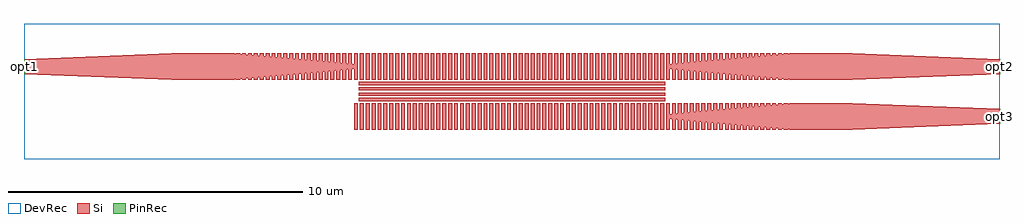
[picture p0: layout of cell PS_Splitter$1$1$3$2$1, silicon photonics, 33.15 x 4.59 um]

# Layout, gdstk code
import gdstk
lib = gdstk.Library(unit=1e-6, precision=1e-09)
def R(c, l, rs):  # rectangles x0, y0, x1, y1
    for r in rs: c.add(gdstk.rectangle(r[:2], r[2:], *l))
def P(c, l, *ps):  # polygons
    for p in ps: c.add(gdstk.Polygon(p, *l))
Si = (1, 0)
PinRec = (1, 10)
DevRec = (68, 0)

taper_right_1_1_3_2_1 = lib.new_cell('taper_right$1$1$3$2$1')
P(taper_right_1_1_3_2_1, Si, [(18.935,-1.293),(14.745,-0.919),(14.745,-0.769),(18.935,-0.394)])

swg_bot_period_21_1_1_3_ = lib.new_cell('SWG_bot_period_21$1$1$3$2$1')
R(swg_bot_period_21_1_1_3_, Si, [(4.135,-1.294,4.265,-0.395)])

swg_bot_period_22_1_1_3_ = lib.new_cell('SWG_bot_period_22$1$1$3$2$1')
R(swg_bot_period_22_1_1_3_, Si, [(4.335,-1.294,4.465,-0.395)])

swg_bot_period_23_1_1_3_ = lib.new_cell('SWG_bot_period_23$1$1$3$2$1')
R(swg_bot_period_23_1_1_3_, Si, [(4.535,-1.294,4.665,-0.395)])

swg_bot_period_24_1_1_3_ = lib.new_cell('SWG_bot_period_24$1$1$3$2$1')
R(swg_bot_period_24_1_1_3_, Si, [(4.735,-1.294,4.865,-0.395)])

swg_bot_period_25_1_1_3_ = lib.new_cell('SWG_bot_period_25$1$1$3$2$1')
R(swg_bot_period_25_1_1_3_, Si, [(4.935,-1.294,5.065,-0.395)])

swg_bot_period_26_1_1_3_ = lib.new_cell('SWG_bot_period_26$1$1$3$2$1')
R(swg_bot_period_26_1_1_3_, Si, [(5.135,-1.294,5.265,-0.395)])

swg_bot_period_27_1_1_3_ = lib.new_cell('SWG_bot_period_27$1$1$3$2$1')
R(swg_bot_period_27_1_1_3_, Si, [(5.335,-1.294,5.465,-0.395)])

swg_bot_period_28_1_1_3_ = lib.new_cell('SWG_bot_period_28$1$1$3$2$1')
R(swg_bot_period_28_1_1_3_, Si, [(5.535,-1.294,5.665,-0.395)])

swg_bot_period_29_1_1_3_ = lib.new_cell('SWG_bot_period_29$1$1$3$2$1')
R(swg_bot_period_29_1_1_3_, Si, [(5.735,-1.294,5.865,-0.395)])

swg_bot_period_30_1_1_3_ = lib.new_cell('SWG_bot_period_30$1$1$3$2$1')
R(swg_bot_period_30_1_1_3_, Si, [(5.935,-1.294,6.065,-0.395)])

swg_bot_period_31_1_1_3_ = lib.new_cell('SWG_bot_period_31$1$1$3$2$1')
R(swg_bot_period_31_1_1_3_, Si, [(6.135,-1.294,6.265,-0.395)])

swg_bot_period_32_1_1_3_ = lib.new_cell('SWG_bot_period_32$1$1$3$2$1')
R(swg_bot_period_32_1_1_3_, Si, [(6.335,-1.294,6.465,-0.395)])

swg_bot_period_33_1_1_3_ = lib.new_cell('SWG_bot_period_33$1$1$3$2$1')
R(swg_bot_period_33_1_1_3_, Si, [(6.535,-1.294,6.665,-0.395)])

swg_bot_period_34_1_1_3_ = lib.new_cell('SWG_bot_period_34$1$1$3$2$1')
R(swg_bot_period_34_1_1_3_, Si, [(6.735,-1.294,6.865,-0.395)])

swg_bot_period_35_1_1_3_ = lib.new_cell('SWG_bot_period_35$1$1$3$2$1')
R(swg_bot_period_35_1_1_3_, Si, [(6.935,-1.294,7.065,-0.395)])

swg_bot_period_36_1_1_3_ = lib.new_cell('SWG_bot_period_36$1$1$3$2$1')
R(swg_bot_period_36_1_1_3_, Si, [(7.135,-1.294,7.265,-0.395)])

swg_bot_period_37_1_1_3_ = lib.new_cell('SWG_bot_period_37$1$1$3$2$1')
R(swg_bot_period_37_1_1_3_, Si, [(7.335,-1.294,7.465,-0.395)])

swg_bot_period_38_1_1_3_ = lib.new_cell('SWG_bot_period_38$1$1$3$2$1')
R(swg_bot_period_38_1_1_3_, Si, [(7.535,-1.294,7.665,-0.395)])

swg_bot_period_39_1_1_3_ = lib.new_cell('SWG_bot_period_39$1$1$3$2$1')
R(swg_bot_period_39_1_1_3_, Si, [(7.735,-1.294,7.865,-0.395)])

swg_bot_period_40_1_1_3_ = lib.new_cell('SWG_bot_period_40$1$1$3$2$1')
R(swg_bot_period_40_1_1_3_, Si, [(7.935,-1.294,8.065,-0.395)])

swg_bot_period_41_1_1_3_ = lib.new_cell('SWG_bot_period_41$1$1$3$2$1')
R(swg_bot_period_41_1_1_3_, Si, [(8.135,-1.294,8.265,-0.395)])

swg_bot_period_42_1_1_3_ = lib.new_cell('SWG_bot_period_42$1$1$3$2$1')
R(swg_bot_period_42_1_1_3_, Si, [(8.335,-1.294,8.465,-0.395)])

swg_bot_period_43_1_1_3_ = lib.new_cell('SWG_bot_period_43$1$1$3$2$1')
R(swg_bot_period_43_1_1_3_, Si, [(8.535,-1.294,8.665,-0.395)])

swg_bot_period_44_1_1_3_ = lib.new_cell('SWG_bot_period_44$1$1$3$2$1')
R(swg_bot_period_44_1_1_3_, Si, [(8.735,-1.294,8.865,-0.395)])

swg_bot_period_45_1_1_3_ = lib.new_cell('SWG_bot_period_45$1$1$3$2$1')
R(swg_bot_period_45_1_1_3_, Si, [(8.935,-1.294,9.065,-0.395)])

swg_bot_period_46_1_1_3_ = lib.new_cell('SWG_bot_period_46$1$1$3$2$1')
R(swg_bot_period_46_1_1_3_, Si, [(9.135,-1.294,9.265,-0.395)])

swg_bot_period_47_1_1_3_ = lib.new_cell('SWG_bot_period_47$1$1$3$2$1')
R(swg_bot_period_47_1_1_3_, Si, [(9.335,-1.294,9.465,-0.395)])

swg_bot_period_48_1_1_3_ = lib.new_cell('SWG_bot_period_48$1$1$3$2$1')
R(swg_bot_period_48_1_1_3_, Si, [(9.535,-1.294,9.665,-0.395)])

swg_bot_period_49_1_1_3_ = lib.new_cell('SWG_bot_period_49$1$1$3$2$1')
R(swg_bot_period_49_1_1_3_, Si, [(9.735,-1.294,9.865,-0.395)])

swg_bot_period_50_1_1_3_ = lib.new_cell('SWG_bot_period_50$1$1$3$2$1')
R(swg_bot_period_50_1_1_3_, Si, [(9.935,-1.294,10.065,-0.395)])

swg_bot_period_51_1_1_3_ = lib.new_cell('SWG_bot_period_51$1$1$3$2$1')
R(swg_bot_period_51_1_1_3_, Si, [(10.135,-1.294,10.265,-0.395)])

swg_bot_period_52_1_1_3_ = lib.new_cell('SWG_bot_period_52$1$1$3$2$1')
R(swg_bot_period_52_1_1_3_, Si, [(10.335,-1.294,10.465,-0.395)])

swg_bot_period_53_1_1_3_ = lib.new_cell('SWG_bot_period_53$1$1$3$2$1')
R(swg_bot_period_53_1_1_3_, Si, [(10.535,-1.294,10.665,-0.395)])

swg_bot_period_54_1_1_3_ = lib.new_cell('SWG_bot_period_54$1$1$3$2$1')
R(swg_bot_period_54_1_1_3_, Si, [(10.735,-1.294,10.865,-0.395)])

swg_bot_period_55_1_1_3_ = lib.new_cell('SWG_bot_period_55$1$1$3$2$1')
R(swg_bot_period_55_1_1_3_, Si, [(10.935,-1.294,11.065,-0.395)])

swg_bot_period_56_1_1_3_ = lib.new_cell('SWG_bot_period_56$1$1$3$2$1')
R(swg_bot_period_56_1_1_3_, Si, [(11.135,-1.294,11.265,-0.395)])

swg_bot_period_57_1_1_3_ = lib.new_cell('SWG_bot_period_57$1$1$3$2$1')
R(swg_bot_period_57_1_1_3_, Si, [(11.335,-1.294,11.465,-0.395)])

swg_bot_period_58_1_1_3_ = lib.new_cell('SWG_bot_period_58$1$1$3$2$1')
R(swg_bot_period_58_1_1_3_, Si, [(11.535,-1.294,11.665,-0.395)])

swg_bot_period_59_1_1_3_ = lib.new_cell('SWG_bot_period_59$1$1$3$2$1')
R(swg_bot_period_59_1_1_3_, Si, [(11.735,-1.294,11.865,-0.395)])

swg_bot_period_60_1_1_3_ = lib.new_cell('SWG_bot_period_60$1$1$3$2$1')
R(swg_bot_period_60_1_1_3_, Si, [(11.935,-1.294,12.065,-0.395)])

swg_bot_period_61_1_1_3_ = lib.new_cell('SWG_bot_period_61$1$1$3$2$1')
R(swg_bot_period_61_1_1_3_, Si, [(12.135,-1.294,12.265,-0.395)])

swg_bot_period_62_1_1_3_ = lib.new_cell('SWG_bot_period_62$1$1$3$2$1')
R(swg_bot_period_62_1_1_3_, Si, [(12.335,-1.294,12.465,-0.395)])

swg_bot_period_63_1_1_3_ = lib.new_cell('SWG_bot_period_63$1$1$3$2$1')
R(swg_bot_period_63_1_1_3_, Si, [(12.535,-1.294,12.665,-0.395)])

swg_bot_period_64_1_1_3_ = lib.new_cell('SWG_bot_period_64$1$1$3$2$1')
R(swg_bot_period_64_1_1_3_, Si, [(12.735,-1.294,12.865,-0.395)])

swg_bot_period_65_1_1_3_ = lib.new_cell('SWG_bot_period_65$1$1$3$2$1')
R(swg_bot_period_65_1_1_3_, Si, [(12.935,-1.294,13.065,-0.395)])

swg_bot_period_66_1_1_3_ = lib.new_cell('SWG_bot_period_66$1$1$3$2$1')
R(swg_bot_period_66_1_1_3_, Si, [(13.135,-1.294,13.265,-0.395)])

swg_bot_period_67_1_1_3_ = lib.new_cell('SWG_bot_period_67$1$1$3$2$1')
R(swg_bot_period_67_1_1_3_, Si, [(13.335,-1.294,13.465,-0.395)])

swg_bot_period_68_1_1_3_ = lib.new_cell('SWG_bot_period_68$1$1$3$2$1')
R(swg_bot_period_68_1_1_3_, Si, [(13.535,-1.294,13.665,-0.395)])

swg_bot_period_69_1_1_3_ = lib.new_cell('SWG_bot_period_69$1$1$3$2$1')
R(swg_bot_period_69_1_1_3_, Si, [(13.735,-1.294,13.865,-0.395)])

swg_bot_period_70_1_1_3_ = lib.new_cell('SWG_bot_period_70$1$1$3$2$1')
R(swg_bot_period_70_1_1_3_, Si, [(13.935,-1.294,14.065,-0.395)])

swg_bot_period_71_1_1_3_ = lib.new_cell('SWG_bot_period_71$1$1$3$2$1')
R(swg_bot_period_71_1_1_3_, Si, [(14.135,-1.294,14.265,-0.395)])

swg_bot_period_72_1_1_3_ = lib.new_cell('SWG_bot_period_72$1$1$3$2$1')
R(swg_bot_period_72_1_1_3_, Si, [(14.335,-1.294,14.465,-0.395)])

swg_bot_period_73_1_1_3_ = lib.new_cell('SWG_bot_period_73$1$1$3$2$1')
R(swg_bot_period_73_1_1_3_, Si, [(14.535,-1.294,14.665,-0.395)])

swg_bot_period_74_1_1_3_ = lib.new_cell('SWG_bot_period_74$1$1$3$2$1')
R(swg_bot_period_74_1_1_3_, Si, [(14.735,-1.294,14.865,-0.395)])

swg_bot_period_75_1_1_3_ = lib.new_cell('SWG_bot_period_75$1$1$3$2$1')
R(swg_bot_period_75_1_1_3_, Si, [(14.935,-1.294,15.065,-0.395)])

swg_bot_period_76_1_1_3_ = lib.new_cell('SWG_bot_period_76$1$1$3$2$1')
R(swg_bot_period_76_1_1_3_, Si, [(15.135,-1.294,15.265,-0.395)])

swg_bot_period_77_1_1_3_ = lib.new_cell('SWG_bot_period_77$1$1$3$2$1')
R(swg_bot_period_77_1_1_3_, Si, [(15.335,-1.294,15.465,-0.395)])

swg_bot_period_78_1_1_3_ = lib.new_cell('SWG_bot_period_78$1$1$3$2$1')
R(swg_bot_period_78_1_1_3_, Si, [(15.535,-1.294,15.665,-0.395)])

swg_bot_period_79_1_1_3_ = lib.new_cell('SWG_bot_period_79$1$1$3$2$1')
R(swg_bot_period_79_1_1_3_, Si, [(15.735,-1.294,15.865,-0.395)])

swg_bot_period_80_1_1_3_ = lib.new_cell('SWG_bot_period_80$1$1$3$2$1')
R(swg_bot_period_80_1_1_3_, Si, [(15.935,-1.294,16.065,-0.395)])

swg_bot_period_81_1_1_3_ = lib.new_cell('SWG_bot_period_81$1$1$3$2$1')
R(swg_bot_period_81_1_1_3_, Si, [(16.135,-1.294,16.265,-0.395)])

swg_bot_period_82_1_1_3_ = lib.new_cell('SWG_bot_period_82$1$1$3$2$1')
R(swg_bot_period_82_1_1_3_, Si, [(16.335,-1.294,16.465,-0.395)])

swg_bot_period_83_1_1_3_ = lib.new_cell('SWG_bot_period_83$1$1$3$2$1')
R(swg_bot_period_83_1_1_3_, Si, [(16.535,-1.294,16.665,-0.395)])

swg_bot_period_84_1_3_2_ = lib.new_cell('SWG_bot_period_84$1$3$2$1')
R(swg_bot_period_84_1_3_2_, Si, [(16.735,-1.294,16.865,-0.395)])

swg_bot_period_85_1_3_2_ = lib.new_cell('SWG_bot_period_85$1$3$2$1')
R(swg_bot_period_85_1_3_2_, Si, [(16.935,-1.294,17.065,-0.395)])

swg_bot_period_86_1_3_2_ = lib.new_cell('SWG_bot_period_86$1$3$2$1')
R(swg_bot_period_86_1_3_2_, Si, [(17.135,-1.294,17.265,-0.395)])

swg_bot_period_87_1_3_2_ = lib.new_cell('SWG_bot_period_87$1$3$2$1')
R(swg_bot_period_87_1_3_2_, Si, [(17.335,-1.294,17.465,-0.395)])

swg_bot_period_88_1_3_2_ = lib.new_cell('SWG_bot_period_88$1$3$2$1')
R(swg_bot_period_88_1_3_2_, Si, [(17.535,-1.294,17.665,-0.395)])

swg_bot_period_89_1_3_2_ = lib.new_cell('SWG_bot_period_89$1$3$2$1')
R(swg_bot_period_89_1_3_2_, Si, [(17.735,-1.294,17.865,-0.395)])

swg_bot_period_90_1_3_2_ = lib.new_cell('SWG_bot_period_90$1$3$2$1')
R(swg_bot_period_90_1_3_2_, Si, [(17.935,-1.294,18.065,-0.395)])

swg_bot_period_91_1_3_2_ = lib.new_cell('SWG_bot_period_91$1$3$2$1')
R(swg_bot_period_91_1_3_2_, Si, [(18.135,-1.294,18.265,-0.395)])

swg_bot_period_92_1_3_2_ = lib.new_cell('SWG_bot_period_92$1$3$2$1')
R(swg_bot_period_92_1_3_2_, Si, [(18.335,-1.294,18.465,-0.395)])

swg_bot_period_93_1_3_2_ = lib.new_cell('SWG_bot_period_93$1$3$2$1')
R(swg_bot_period_93_1_3_2_, Si, [(18.535,-1.294,18.665,-0.395)])

swg_bot_period_94_1_3_2_ = lib.new_cell('SWG_bot_period_94$1$3$2$1')
R(swg_bot_period_94_1_3_2_, Si, [(18.735,-1.294,18.865,-0.395)])

swg_bot_period_95_1_3_2_ = lib.new_cell('SWG_bot_period_95$1$3$2$1')
R(swg_bot_period_95_1_3_2_, Si, [(18.935,-1.294,19.065,-0.395)])

right_wg_1_3_2_1 = lib.new_cell('right_wg$1$3$2$1')
R(right_wg_1_3_2_1, Si, [(19.065,-1.294,21.065,-0.395)])

wg_taper_right_1_3_2_1 = lib.new_cell('wg_taper_right$1$3$2$1')
P(wg_taper_right_1_3_2_1, Si, [(21.065,-1.293),(21.065,-0.394),(26.065,-0.594),(26.065,-1.094)])

swg_bot_1_1_3_2_1 = lib.new_cell('SWG_bot$1$1$3$2$1')
swg_bot_1_1_3_2_1.add(gdstk.Reference(taper_right_1_1_3_2_1, (0,0)))
swg_bot_1_1_3_2_1.add(gdstk.Reference(swg_bot_period_21_1_1_3_, (0,0)))
swg_bot_1_1_3_2_1.add(gdstk.Reference(swg_bot_period_22_1_1_3_, (0,0)))
swg_bot_1_1_3_2_1.add(gdstk.Reference(swg_bot_period_23_1_1_3_, (0,0)))
swg_bot_1_1_3_2_1.add(gdstk.Reference(swg_bot_period_24_1_1_3_, (0,0)))
swg_bot_1_1_3_2_1.add(gdstk.Reference(swg_bot_period_25_1_1_3_, (0,0)))
swg_bot_1_1_3_2_1.add(gdstk.Reference(swg_bot_period_26_1_1_3_, (0,0)))
swg_bot_1_1_3_2_1.add(gdstk.Reference(swg_bot_period_27_1_1_3_, (0,0)))
swg_bot_1_1_3_2_1.add(gdstk.Reference(swg_bot_period_28_1_1_3_, (0,0)))
swg_bot_1_1_3_2_1.add(gdstk.Reference(swg_bot_period_29_1_1_3_, (0,0)))
swg_bot_1_1_3_2_1.add(gdstk.Reference(swg_bot_period_30_1_1_3_, (0,0)))
swg_bot_1_1_3_2_1.add(gdstk.Reference(swg_bot_period_31_1_1_3_, (0,0)))
swg_bot_1_1_3_2_1.add(gdstk.Reference(swg_bot_period_32_1_1_3_, (0,0)))
swg_bot_1_1_3_2_1.add(gdstk.Reference(swg_bot_period_33_1_1_3_, (0,0)))
swg_bot_1_1_3_2_1.add(gdstk.Reference(swg_bot_period_34_1_1_3_, (0,0)))
swg_bot_1_1_3_2_1.add(gdstk.Reference(swg_bot_period_35_1_1_3_, (0,0)))
swg_bot_1_1_3_2_1.add(gdstk.Reference(swg_bot_period_36_1_1_3_, (0,0)))
swg_bot_1_1_3_2_1.add(gdstk.Reference(swg_bot_period_37_1_1_3_, (0,0)))
swg_bot_1_1_3_2_1.add(gdstk.Reference(swg_bot_period_38_1_1_3_, (0,0)))
swg_bot_1_1_3_2_1.add(gdstk.Reference(swg_bot_period_39_1_1_3_, (0,0)))
swg_bot_1_1_3_2_1.add(gdstk.Reference(swg_bot_period_40_1_1_3_, (0,0)))
swg_bot_1_1_3_2_1.add(gdstk.Reference(swg_bot_period_41_1_1_3_, (0,0)))
swg_bot_1_1_3_2_1.add(gdstk.Reference(swg_bot_period_42_1_1_3_, (0,0)))
swg_bot_1_1_3_2_1.add(gdstk.Reference(swg_bot_period_43_1_1_3_, (0,0)))
swg_bot_1_1_3_2_1.add(gdstk.Reference(swg_bot_period_44_1_1_3_, (0,0)))
swg_bot_1_1_3_2_1.add(gdstk.Reference(swg_bot_period_45_1_1_3_, (0,0)))
swg_bot_1_1_3_2_1.add(gdstk.Reference(swg_bot_period_46_1_1_3_, (0,0)))
swg_bot_1_1_3_2_1.add(gdstk.Reference(swg_bot_period_47_1_1_3_, (0,0)))
swg_bot_1_1_3_2_1.add(gdstk.Reference(swg_bot_period_48_1_1_3_, (0,0)))
swg_bot_1_1_3_2_1.add(gdstk.Reference(swg_bot_period_49_1_1_3_, (0,0)))
swg_bot_1_1_3_2_1.add(gdstk.Reference(swg_bot_period_50_1_1_3_, (0,0)))
swg_bot_1_1_3_2_1.add(gdstk.Reference(swg_bot_period_51_1_1_3_, (0,0)))
swg_bot_1_1_3_2_1.add(gdstk.Reference(swg_bot_period_52_1_1_3_, (0,0)))
swg_bot_1_1_3_2_1.add(gdstk.Reference(swg_bot_period_53_1_1_3_, (0,0)))
swg_bot_1_1_3_2_1.add(gdstk.Reference(swg_bot_period_54_1_1_3_, (0,0)))
swg_bot_1_1_3_2_1.add(gdstk.Reference(swg_bot_period_55_1_1_3_, (0,0)))
swg_bot_1_1_3_2_1.add(gdstk.Reference(swg_bot_period_56_1_1_3_, (0,0)))
swg_bot_1_1_3_2_1.add(gdstk.Reference(swg_bot_period_57_1_1_3_, (0,0)))
swg_bot_1_1_3_2_1.add(gdstk.Reference(swg_bot_period_58_1_1_3_, (0,0)))
swg_bot_1_1_3_2_1.add(gdstk.Reference(swg_bot_period_59_1_1_3_, (0,0)))
swg_bot_1_1_3_2_1.add(gdstk.Reference(swg_bot_period_60_1_1_3_, (0,0)))
swg_bot_1_1_3_2_1.add(gdstk.Reference(swg_bot_period_61_1_1_3_, (0,0)))
swg_bot_1_1_3_2_1.add(gdstk.Reference(swg_bot_period_62_1_1_3_, (0,0)))
swg_bot_1_1_3_2_1.add(gdstk.Reference(swg_bot_period_63_1_1_3_, (0,0)))
swg_bot_1_1_3_2_1.add(gdstk.Reference(swg_bot_period_64_1_1_3_, (0,0)))
swg_bot_1_1_3_2_1.add(gdstk.Reference(swg_bot_period_65_1_1_3_, (0,0)))
swg_bot_1_1_3_2_1.add(gdstk.Reference(swg_bot_period_66_1_1_3_, (0,0)))
swg_bot_1_1_3_2_1.add(gdstk.Reference(swg_bot_period_67_1_1_3_, (0,0)))
swg_bot_1_1_3_2_1.add(gdstk.Reference(swg_bot_period_68_1_1_3_, (0,0)))
swg_bot_1_1_3_2_1.add(gdstk.Reference(swg_bot_period_69_1_1_3_, (0,0)))
swg_bot_1_1_3_2_1.add(gdstk.Reference(swg_bot_period_70_1_1_3_, (0,0)))
swg_bot_1_1_3_2_1.add(gdstk.Reference(swg_bot_period_71_1_1_3_, (0,0)))
swg_bot_1_1_3_2_1.add(gdstk.Reference(swg_bot_period_72_1_1_3_, (0,0)))
swg_bot_1_1_3_2_1.add(gdstk.Reference(swg_bot_period_73_1_1_3_, (0,0)))
swg_bot_1_1_3_2_1.add(gdstk.Reference(swg_bot_period_74_1_1_3_, (0,0)))
swg_bot_1_1_3_2_1.add(gdstk.Reference(swg_bot_period_75_1_1_3_, (0,0)))
swg_bot_1_1_3_2_1.add(gdstk.Reference(swg_bot_period_76_1_1_3_, (0,0)))
swg_bot_1_1_3_2_1.add(gdstk.Reference(swg_bot_period_77_1_1_3_, (0,0)))
swg_bot_1_1_3_2_1.add(gdstk.Reference(swg_bot_period_78_1_1_3_, (0,0)))
swg_bot_1_1_3_2_1.add(gdstk.Reference(swg_bot_period_79_1_1_3_, (0,0)))
swg_bot_1_1_3_2_1.add(gdstk.Reference(swg_bot_period_80_1_1_3_, (0,0)))
swg_bot_1_1_3_2_1.add(gdstk.Reference(swg_bot_period_81_1_1_3_, (0,0)))
swg_bot_1_1_3_2_1.add(gdstk.Reference(swg_bot_period_82_1_1_3_, (0,0)))
swg_bot_1_1_3_2_1.add(gdstk.Reference(swg_bot_period_83_1_1_3_, (0,0)))
swg_bot_1_1_3_2_1.add(gdstk.Reference(swg_bot_period_84_1_3_2_, (0,0)))
swg_bot_1_1_3_2_1.add(gdstk.Reference(swg_bot_period_85_1_3_2_, (0,0)))
swg_bot_1_1_3_2_1.add(gdstk.Reference(swg_bot_period_86_1_3_2_, (0,0)))
swg_bot_1_1_3_2_1.add(gdstk.Reference(swg_bot_period_87_1_3_2_, (0,0)))
swg_bot_1_1_3_2_1.add(gdstk.Reference(swg_bot_period_88_1_3_2_, (0,0)))
swg_bot_1_1_3_2_1.add(gdstk.Reference(swg_bot_period_89_1_3_2_, (0,0)))
swg_bot_1_1_3_2_1.add(gdstk.Reference(swg_bot_period_90_1_3_2_, (0,0)))
swg_bot_1_1_3_2_1.add(gdstk.Reference(swg_bot_period_91_1_3_2_, (0,0)))
swg_bot_1_1_3_2_1.add(gdstk.Reference(swg_bot_period_92_1_3_2_, (0,0)))
swg_bot_1_1_3_2_1.add(gdstk.Reference(swg_bot_period_93_1_3_2_, (0,0)))
swg_bot_1_1_3_2_1.add(gdstk.Reference(swg_bot_period_94_1_3_2_, (0,0)))
swg_bot_1_1_3_2_1.add(gdstk.Reference(swg_bot_period_95_1_3_2_, (0,0)))
swg_bot_1_1_3_2_1.add(gdstk.Reference(right_wg_1_3_2_1, (0,0)))
swg_bot_1_1_3_2_1.add(gdstk.Reference(wg_taper_right_1_3_2_1, (0,0)))

taper_right2_1_1_3_2_1 = lib.new_cell('taper_right2$1$1$3$2$1')
P(taper_right2_1_1_3_2_1, Si, [(18.935,0.394),(14.745,0.769),(14.745,0.919),(18.935,1.293)])

swg_top_period_48_1_1_3_ = lib.new_cell('SWG_top_period_48$1$1$3$2$1')
R(swg_top_period_48_1_1_3_, Si, [(9.535,0.395,9.665,1.294)])

swg_top_period_49_1_1_3_ = lib.new_cell('SWG_top_period_49$1$1$3$2$1')
R(swg_top_period_49_1_1_3_, Si, [(9.735,0.395,9.865,1.294)])

swg_top_period_50_1_1_3_ = lib.new_cell('SWG_top_period_50$1$1$3$2$1')
R(swg_top_period_50_1_1_3_, Si, [(9.935,0.395,10.065,1.294)])

swg_top_period_51_1_1_3_ = lib.new_cell('SWG_top_period_51$1$1$3$2$1')
R(swg_top_period_51_1_1_3_, Si, [(10.135,0.395,10.265,1.294)])

swg_top_period_52_1_1_3_ = lib.new_cell('SWG_top_period_52$1$1$3$2$1')
R(swg_top_period_52_1_1_3_, Si, [(10.335,0.395,10.465,1.294)])

swg_top_period_53_1_1_3_ = lib.new_cell('SWG_top_period_53$1$1$3$2$1')
R(swg_top_period_53_1_1_3_, Si, [(10.535,0.395,10.665,1.294)])

swg_top_period_54_1_1_3_ = lib.new_cell('SWG_top_period_54$1$1$3$2$1')
R(swg_top_period_54_1_1_3_, Si, [(10.735,0.395,10.865,1.294)])

swg_top_period_55_1_1_3_ = lib.new_cell('SWG_top_period_55$1$1$3$2$1')
R(swg_top_period_55_1_1_3_, Si, [(10.935,0.395,11.065,1.294)])

swg_top_period_56_1_1_3_ = lib.new_cell('SWG_top_period_56$1$1$3$2$1')
R(swg_top_period_56_1_1_3_, Si, [(11.135,0.395,11.265,1.294)])

swg_top_period_57_1_1_3_ = lib.new_cell('SWG_top_period_57$1$1$3$2$1')
R(swg_top_period_57_1_1_3_, Si, [(11.335,0.395,11.465,1.294)])

swg_top_period_58_1_1_3_ = lib.new_cell('SWG_top_period_58$1$1$3$2$1')
R(swg_top_period_58_1_1_3_, Si, [(11.535,0.395,11.665,1.294)])

swg_top_period_59_1_1_3_ = lib.new_cell('SWG_top_period_59$1$1$3$2$1')
R(swg_top_period_59_1_1_3_, Si, [(11.735,0.395,11.865,1.294)])

swg_top_period_60_1_1_3_ = lib.new_cell('SWG_top_period_60$1$1$3$2$1')
R(swg_top_period_60_1_1_3_, Si, [(11.935,0.395,12.065,1.294)])

swg_top_period_61_1_1_3_ = lib.new_cell('SWG_top_period_61$1$1$3$2$1')
R(swg_top_period_61_1_1_3_, Si, [(12.135,0.395,12.265,1.294)])

swg_top_period_62_1_1_3_ = lib.new_cell('SWG_top_period_62$1$1$3$2$1')
R(swg_top_period_62_1_1_3_, Si, [(12.335,0.395,12.465,1.294)])

swg_top_period_63_1_1_3_ = lib.new_cell('SWG_top_period_63$1$1$3$2$1')
R(swg_top_period_63_1_1_3_, Si, [(12.535,0.395,12.665,1.294)])

swg_top_period_64_1_1_3_ = lib.new_cell('SWG_top_period_64$1$1$3$2$1')
R(swg_top_period_64_1_1_3_, Si, [(12.735,0.395,12.865,1.294)])

swg_top_period_65_1_1_3_ = lib.new_cell('SWG_top_period_65$1$1$3$2$1')
R(swg_top_period_65_1_1_3_, Si, [(12.935,0.395,13.065,1.294)])

swg_top_period_66_1_1_3_ = lib.new_cell('SWG_top_period_66$1$1$3$2$1')
R(swg_top_period_66_1_1_3_, Si, [(13.135,0.395,13.265,1.294)])

swg_top_period_67_1_1_3_ = lib.new_cell('SWG_top_period_67$1$1$3$2$1')
R(swg_top_period_67_1_1_3_, Si, [(13.335,0.395,13.465,1.294)])

swg_top_period_68_1_1_3_ = lib.new_cell('SWG_top_period_68$1$1$3$2$1')
R(swg_top_period_68_1_1_3_, Si, [(13.535,0.395,13.665,1.294)])

swg_top_period_69_1_1_3_ = lib.new_cell('SWG_top_period_69$1$1$3$2$1')
R(swg_top_period_69_1_1_3_, Si, [(13.735,0.395,13.865,1.294)])

swg_top_period_70_1_1_3_ = lib.new_cell('SWG_top_period_70$1$1$3$2$1')
R(swg_top_period_70_1_1_3_, Si, [(13.935,0.395,14.065,1.294)])

swg_top_period_71_1_1_3_ = lib.new_cell('SWG_top_period_71$1$1$3$2$1')
R(swg_top_period_71_1_1_3_, Si, [(14.135,0.395,14.265,1.294)])

swg_top_period_72_1_1_3_ = lib.new_cell('SWG_top_period_72$1$1$3$2$1')
R(swg_top_period_72_1_1_3_, Si, [(14.335,0.395,14.465,1.294)])

swg_top_period_73_1_1_3_ = lib.new_cell('SWG_top_period_73$1$1$3$2$1')
R(swg_top_period_73_1_1_3_, Si, [(14.535,0.395,14.665,1.294)])

swg_top_period_74_1_1_3_ = lib.new_cell('SWG_top_period_74$1$1$3$2$1')
R(swg_top_period_74_1_1_3_, Si, [(14.735,0.395,14.865,1.294)])

swg_top_period_75_1_1_3_ = lib.new_cell('SWG_top_period_75$1$1$3$2$1')
R(swg_top_period_75_1_1_3_, Si, [(14.935,0.395,15.065,1.294)])

swg_top_period_76_1_1_3_ = lib.new_cell('SWG_top_period_76$1$1$3$2$1')
R(swg_top_period_76_1_1_3_, Si, [(15.135,0.395,15.265,1.294)])

swg_top_period_77_1_1_3_ = lib.new_cell('SWG_top_period_77$1$1$3$2$1')
R(swg_top_period_77_1_1_3_, Si, [(15.335,0.395,15.465,1.294)])

swg_top_period_78_1_1_3_ = lib.new_cell('SWG_top_period_78$1$1$3$2$1')
R(swg_top_period_78_1_1_3_, Si, [(15.535,0.395,15.665,1.294)])

swg_top_period_79_1_1_3_ = lib.new_cell('SWG_top_period_79$1$1$3$2$1')
R(swg_top_period_79_1_1_3_, Si, [(15.735,0.395,15.865,1.294)])

swg_top_period_80_1_1_3_ = lib.new_cell('SWG_top_period_80$1$1$3$2$1')
R(swg_top_period_80_1_1_3_, Si, [(15.935,0.395,16.065,1.294)])

swg_top_period_81_1_1_3_ = lib.new_cell('SWG_top_period_81$1$1$3$2$1')
R(swg_top_period_81_1_1_3_, Si, [(16.135,0.395,16.265,1.294)])

swg_top_period_82_1_1_3_ = lib.new_cell('SWG_top_period_82$1$1$3$2$1')
R(swg_top_period_82_1_1_3_, Si, [(16.335,0.395,16.465,1.294)])

swg_top_period_83_1_1_3_ = lib.new_cell('SWG_top_period_83$1$1$3$2$1')
R(swg_top_period_83_1_1_3_, Si, [(16.535,0.395,16.665,1.294)])

swg_top_period_84_1_3_2_ = lib.new_cell('SWG_top_period_84$1$3$2$1')
R(swg_top_period_84_1_3_2_, Si, [(16.735,0.395,16.865,1.294)])

swg_top_period_85_1_3_2_ = lib.new_cell('SWG_top_period_85$1$3$2$1')
R(swg_top_period_85_1_3_2_, Si, [(16.935,0.395,17.065,1.294)])

swg_top_period_86_1_3_2_ = lib.new_cell('SWG_top_period_86$1$3$2$1')
R(swg_top_period_86_1_3_2_, Si, [(17.135,0.395,17.265,1.294)])

swg_top_period_87_1_3_2_ = lib.new_cell('SWG_top_period_87$1$3$2$1')
R(swg_top_period_87_1_3_2_, Si, [(17.335,0.395,17.465,1.294)])

swg_top_period_88_1_3_2_ = lib.new_cell('SWG_top_period_88$1$3$2$1')
R(swg_top_period_88_1_3_2_, Si, [(17.535,0.395,17.665,1.294)])

swg_top_period_89_1_3_2_ = lib.new_cell('SWG_top_period_89$1$3$2$1')
R(swg_top_period_89_1_3_2_, Si, [(17.735,0.395,17.865,1.294)])

swg_top_period_90_1_3_2_ = lib.new_cell('SWG_top_period_90$1$3$2$1')
R(swg_top_period_90_1_3_2_, Si, [(17.935,0.395,18.065,1.294)])

swg_top_period_91_1_3_2_ = lib.new_cell('SWG_top_period_91$1$3$2$1')
R(swg_top_period_91_1_3_2_, Si, [(18.135,0.395,18.265,1.294)])

swg_top_period_92_1_3_2_ = lib.new_cell('SWG_top_period_92$1$3$2$1')
R(swg_top_period_92_1_3_2_, Si, [(18.335,0.395,18.465,1.294)])

swg_top_period_93_1_3_2_ = lib.new_cell('SWG_top_period_93$1$3$2$1')
R(swg_top_period_93_1_3_2_, Si, [(18.535,0.395,18.665,1.294)])

swg_top_period_94_1_3_2_ = lib.new_cell('SWG_top_period_94$1$3$2$1')
R(swg_top_period_94_1_3_2_, Si, [(18.735,0.395,18.865,1.294)])

swg_top_period_95_1_3_2_ = lib.new_cell('SWG_top_period_95$1$3$2$1')
R(swg_top_period_95_1_3_2_, Si, [(18.935,0.395,19.065,1.294)])

right_wg2_1_3_2_1 = lib.new_cell('right_wg2$1$3$2$1')
R(right_wg2_1_3_2_1, Si, [(19.065,0.395,21.065,1.294)])

wg_taper_right2_1_3_2_1 = lib.new_cell('wg_taper_right2$1$3$2$1')
P(wg_taper_right2_1_3_2_1, Si, [(21.065,0.394),(21.065,1.293),(26.065,1.094),(26.065,0.594)])

swg_top_period_0_1_1_3_2 = lib.new_cell('SWG_top_period_0$1$1$3$2$1')
R(swg_top_period_0_1_1_3_2, Si, [(-0.065,0.395,0.065,1.294)])

swg_top_period_1_1_1_3_2 = lib.new_cell('SWG_top_period_1$1$1$3$2$1')
R(swg_top_period_1_1_1_3_2, Si, [(0.135,0.395,0.265,1.294)])

swg_top_period_2_1_1_3_2 = lib.new_cell('SWG_top_period_2$1$1$3$2$1')
R(swg_top_period_2_1_1_3_2, Si, [(0.335,0.395,0.465,1.294)])

swg_top_period_3_1_1_3_2 = lib.new_cell('SWG_top_period_3$1$1$3$2$1')
R(swg_top_period_3_1_1_3_2, Si, [(0.535,0.395,0.665,1.294)])

swg_top_period_4_1_1_3_2 = lib.new_cell('SWG_top_period_4$1$1$3$2$1')
R(swg_top_period_4_1_1_3_2, Si, [(0.735,0.395,0.865,1.294)])

swg_top_period_5_1_1_3_2 = lib.new_cell('SWG_top_period_5$1$1$3$2$1')
R(swg_top_period_5_1_1_3_2, Si, [(0.935,0.395,1.065,1.294)])

swg_top_period_6_1_1_3_2 = lib.new_cell('SWG_top_period_6$1$1$3$2$1')
R(swg_top_period_6_1_1_3_2, Si, [(1.135,0.395,1.265,1.294)])

swg_top_period_7_1_1_3_2 = lib.new_cell('SWG_top_period_7$1$1$3$2$1')
R(swg_top_period_7_1_1_3_2, Si, [(1.335,0.395,1.465,1.294)])

swg_top_period_8_1_1_3_2 = lib.new_cell('SWG_top_period_8$1$1$3$2$1')
R(swg_top_period_8_1_1_3_2, Si, [(1.535,0.395,1.665,1.294)])

swg_top_period_9_1_1_3_2 = lib.new_cell('SWG_top_period_9$1$1$3$2$1')
R(swg_top_period_9_1_1_3_2, Si, [(1.735,0.395,1.865,1.294)])

swg_top_period_10_1_1_3_ = lib.new_cell('SWG_top_period_10$1$1$3$2$1')
R(swg_top_period_10_1_1_3_, Si, [(1.935,0.395,2.065,1.294)])

swg_top_period_11_1_1_3_ = lib.new_cell('SWG_top_period_11$1$1$3$2$1')
R(swg_top_period_11_1_1_3_, Si, [(2.135,0.395,2.265,1.294)])

swg_top_period_12_1_1_3_ = lib.new_cell('SWG_top_period_12$1$1$3$2$1')
R(swg_top_period_12_1_1_3_, Si, [(2.335,0.395,2.465,1.294)])

swg_top_period_13_1_1_3_ = lib.new_cell('SWG_top_period_13$1$1$3$2$1')
R(swg_top_period_13_1_1_3_, Si, [(2.535,0.395,2.665,1.294)])

swg_top_period_14_1_1_3_ = lib.new_cell('SWG_top_period_14$1$1$3$2$1')
R(swg_top_period_14_1_1_3_, Si, [(2.735,0.395,2.865,1.294)])

swg_top_period_15_1_1_3_ = lib.new_cell('SWG_top_period_15$1$1$3$2$1')
R(swg_top_period_15_1_1_3_, Si, [(2.935,0.395,3.065,1.294)])

swg_top_period_16_1_1_3_ = lib.new_cell('SWG_top_period_16$1$1$3$2$1')
R(swg_top_period_16_1_1_3_, Si, [(3.135,0.395,3.265,1.294)])

swg_top_period_17_1_1_3_ = lib.new_cell('SWG_top_period_17$1$1$3$2$1')
R(swg_top_period_17_1_1_3_, Si, [(3.335,0.395,3.465,1.294)])

swg_top_period_18_1_1_3_ = lib.new_cell('SWG_top_period_18$1$1$3$2$1')
R(swg_top_period_18_1_1_3_, Si, [(3.535,0.395,3.665,1.294)])

swg_top_period_19_1_1_3_ = lib.new_cell('SWG_top_period_19$1$1$3$2$1')
R(swg_top_period_19_1_1_3_, Si, [(3.735,0.395,3.865,1.294)])

swg_top_period_20_1_1_3_ = lib.new_cell('SWG_top_period_20$1$1$3$2$1')
R(swg_top_period_20_1_1_3_, Si, [(3.935,0.395,4.065,1.294)])

swg_top_period_21_1_1_3_ = lib.new_cell('SWG_top_period_21$1$1$3$2$1')
R(swg_top_period_21_1_1_3_, Si, [(4.135,0.395,4.265,1.294)])

swg_top_period_22_1_1_3_ = lib.new_cell('SWG_top_period_22$1$1$3$2$1')
R(swg_top_period_22_1_1_3_, Si, [(4.335,0.395,4.465,1.294)])

swg_top_period_23_1_1_3_ = lib.new_cell('SWG_top_period_23$1$1$3$2$1')
R(swg_top_period_23_1_1_3_, Si, [(4.535,0.395,4.665,1.294)])

swg_top_period_24_1_1_3_ = lib.new_cell('SWG_top_period_24$1$1$3$2$1')
R(swg_top_period_24_1_1_3_, Si, [(4.735,0.395,4.865,1.294)])

swg_top_period_25_1_1_3_ = lib.new_cell('SWG_top_period_25$1$1$3$2$1')
R(swg_top_period_25_1_1_3_, Si, [(4.935,0.395,5.065,1.294)])

swg_top_period_26_1_1_3_ = lib.new_cell('SWG_top_period_26$1$1$3$2$1')
R(swg_top_period_26_1_1_3_, Si, [(5.135,0.395,5.265,1.294)])

swg_top_period_27_1_1_3_ = lib.new_cell('SWG_top_period_27$1$1$3$2$1')
R(swg_top_period_27_1_1_3_, Si, [(5.335,0.395,5.465,1.294)])

swg_top_period_28_1_1_3_ = lib.new_cell('SWG_top_period_28$1$1$3$2$1')
R(swg_top_period_28_1_1_3_, Si, [(5.535,0.395,5.665,1.294)])

swg_top_period_29_1_1_3_ = lib.new_cell('SWG_top_period_29$1$1$3$2$1')
R(swg_top_period_29_1_1_3_, Si, [(5.735,0.395,5.865,1.294)])

swg_top_period_30_1_1_3_ = lib.new_cell('SWG_top_period_30$1$1$3$2$1')
R(swg_top_period_30_1_1_3_, Si, [(5.935,0.395,6.065,1.294)])

swg_top_period_31_1_1_3_ = lib.new_cell('SWG_top_period_31$1$1$3$2$1')
R(swg_top_period_31_1_1_3_, Si, [(6.135,0.395,6.265,1.294)])

swg_top_period_32_1_1_3_ = lib.new_cell('SWG_top_period_32$1$1$3$2$1')
R(swg_top_period_32_1_1_3_, Si, [(6.335,0.395,6.465,1.294)])

swg_top_period_33_1_1_3_ = lib.new_cell('SWG_top_period_33$1$1$3$2$1')
R(swg_top_period_33_1_1_3_, Si, [(6.535,0.395,6.665,1.294)])

swg_top_period_34_1_1_3_ = lib.new_cell('SWG_top_period_34$1$1$3$2$1')
R(swg_top_period_34_1_1_3_, Si, [(6.735,0.395,6.865,1.294)])

swg_top_period_35_1_1_3_ = lib.new_cell('SWG_top_period_35$1$1$3$2$1')
R(swg_top_period_35_1_1_3_, Si, [(6.935,0.395,7.065,1.294)])

swg_top_period_36_1_1_3_ = lib.new_cell('SWG_top_period_36$1$1$3$2$1')
R(swg_top_period_36_1_1_3_, Si, [(7.135,0.395,7.265,1.294)])

swg_top_period_37_1_1_3_ = lib.new_cell('SWG_top_period_37$1$1$3$2$1')
R(swg_top_period_37_1_1_3_, Si, [(7.335,0.395,7.465,1.294)])

swg_top_period_38_1_1_3_ = lib.new_cell('SWG_top_period_38$1$1$3$2$1')
R(swg_top_period_38_1_1_3_, Si, [(7.535,0.395,7.665,1.294)])

swg_top_period_39_1_1_3_ = lib.new_cell('SWG_top_period_39$1$1$3$2$1')
R(swg_top_period_39_1_1_3_, Si, [(7.735,0.395,7.865,1.294)])

swg_top_period_40_1_1_3_ = lib.new_cell('SWG_top_period_40$1$1$3$2$1')
R(swg_top_period_40_1_1_3_, Si, [(7.935,0.395,8.065,1.294)])

swg_top_period_41_1_1_3_ = lib.new_cell('SWG_top_period_41$1$1$3$2$1')
R(swg_top_period_41_1_1_3_, Si, [(8.135,0.395,8.265,1.294)])

swg_top_period_42_1_1_3_ = lib.new_cell('SWG_top_period_42$1$1$3$2$1')
R(swg_top_period_42_1_1_3_, Si, [(8.335,0.395,8.465,1.294)])

swg_top_period_43_1_1_3_ = lib.new_cell('SWG_top_period_43$1$1$3$2$1')
R(swg_top_period_43_1_1_3_, Si, [(8.535,0.395,8.665,1.294)])

swg_top_period_44_1_1_3_ = lib.new_cell('SWG_top_period_44$1$1$3$2$1')
R(swg_top_period_44_1_1_3_, Si, [(8.735,0.395,8.865,1.294)])

swg_top_period_45_1_1_3_ = lib.new_cell('SWG_top_period_45$1$1$3$2$1')
R(swg_top_period_45_1_1_3_, Si, [(8.935,0.395,9.065,1.294)])

swg_top_period_46_1_1_3_ = lib.new_cell('SWG_top_period_46$1$1$3$2$1')
R(swg_top_period_46_1_1_3_, Si, [(9.135,0.395,9.265,1.294)])

left_wg_1_3_2_1 = lib.new_cell('left_wg$1$3$2$1')
R(left_wg_1_3_2_1, Si, [(-2.065,0.395,-0.065,1.294)])

swg_top_period_47_1_1_3_ = lib.new_cell('SWG_top_period_47$1$1$3$2$1')
R(swg_top_period_47_1_1_3_, Si, [(9.335,0.395,9.465,1.294)])

wg_taper_left_1_3_2_1 = lib.new_cell('wg_taper_left$1$3$2$1')
P(wg_taper_left_1_3_2_1, Si, [(-2.065,0.394),(-7.065,0.594),(-7.065,1.094),(-2.065,1.293)])

taper_left_1_1_3_2_1 = lib.new_cell('taper_left$1$1$3$2$1')
P(taper_left_1_1_3_2_1, Si, [(0.065,0.394),(0.065,1.293),(4.255,0.919),(4.255,0.769)])

swg_top_1_1_3_2_1 = lib.new_cell('SWG_top$1$1$3$2$1')
swg_top_1_1_3_2_1.add(gdstk.Reference(taper_right2_1_1_3_2_1, (0,0)))
swg_top_1_1_3_2_1.add(gdstk.Reference(swg_top_period_48_1_1_3_, (0,0)))
swg_top_1_1_3_2_1.add(gdstk.Reference(swg_top_period_49_1_1_3_, (0,0)))
swg_top_1_1_3_2_1.add(gdstk.Reference(swg_top_period_50_1_1_3_, (0,0)))
swg_top_1_1_3_2_1.add(gdstk.Reference(swg_top_period_51_1_1_3_, (0,0)))
swg_top_1_1_3_2_1.add(gdstk.Reference(swg_top_period_52_1_1_3_, (0,0)))
swg_top_1_1_3_2_1.add(gdstk.Reference(swg_top_period_53_1_1_3_, (0,0)))
swg_top_1_1_3_2_1.add(gdstk.Reference(swg_top_period_54_1_1_3_, (0,0)))
swg_top_1_1_3_2_1.add(gdstk.Reference(swg_top_period_55_1_1_3_, (0,0)))
swg_top_1_1_3_2_1.add(gdstk.Reference(swg_top_period_56_1_1_3_, (0,0)))
swg_top_1_1_3_2_1.add(gdstk.Reference(swg_top_period_57_1_1_3_, (0,0)))
swg_top_1_1_3_2_1.add(gdstk.Reference(swg_top_period_58_1_1_3_, (0,0)))
swg_top_1_1_3_2_1.add(gdstk.Reference(swg_top_period_59_1_1_3_, (0,0)))
swg_top_1_1_3_2_1.add(gdstk.Reference(swg_top_period_60_1_1_3_, (0,0)))
swg_top_1_1_3_2_1.add(gdstk.Reference(swg_top_period_61_1_1_3_, (0,0)))
swg_top_1_1_3_2_1.add(gdstk.Reference(swg_top_period_62_1_1_3_, (0,0)))
swg_top_1_1_3_2_1.add(gdstk.Reference(swg_top_period_63_1_1_3_, (0,0)))
swg_top_1_1_3_2_1.add(gdstk.Reference(swg_top_period_64_1_1_3_, (0,0)))
swg_top_1_1_3_2_1.add(gdstk.Reference(swg_top_period_65_1_1_3_, (0,0)))
swg_top_1_1_3_2_1.add(gdstk.Reference(swg_top_period_66_1_1_3_, (0,0)))
swg_top_1_1_3_2_1.add(gdstk.Reference(swg_top_period_67_1_1_3_, (0,0)))
swg_top_1_1_3_2_1.add(gdstk.Reference(swg_top_period_68_1_1_3_, (0,0)))
swg_top_1_1_3_2_1.add(gdstk.Reference(swg_top_period_69_1_1_3_, (0,0)))
swg_top_1_1_3_2_1.add(gdstk.Reference(swg_top_period_70_1_1_3_, (0,0)))
swg_top_1_1_3_2_1.add(gdstk.Reference(swg_top_period_71_1_1_3_, (0,0)))
swg_top_1_1_3_2_1.add(gdstk.Reference(swg_top_period_72_1_1_3_, (0,0)))
swg_top_1_1_3_2_1.add(gdstk.Reference(swg_top_period_73_1_1_3_, (0,0)))
swg_top_1_1_3_2_1.add(gdstk.Reference(swg_top_period_74_1_1_3_, (0,0)))
swg_top_1_1_3_2_1.add(gdstk.Reference(swg_top_period_75_1_1_3_, (0,0)))
swg_top_1_1_3_2_1.add(gdstk.Reference(swg_top_period_76_1_1_3_, (0,0)))
swg_top_1_1_3_2_1.add(gdstk.Reference(swg_top_period_77_1_1_3_, (0,0)))
swg_top_1_1_3_2_1.add(gdstk.Reference(swg_top_period_78_1_1_3_, (0,0)))
swg_top_1_1_3_2_1.add(gdstk.Reference(swg_top_period_79_1_1_3_, (0,0)))
swg_top_1_1_3_2_1.add(gdstk.Reference(swg_top_period_80_1_1_3_, (0,0)))
swg_top_1_1_3_2_1.add(gdstk.Reference(swg_top_period_81_1_1_3_, (0,0)))
swg_top_1_1_3_2_1.add(gdstk.Reference(swg_top_period_82_1_1_3_, (0,0)))
swg_top_1_1_3_2_1.add(gdstk.Reference(swg_top_period_83_1_1_3_, (0,0)))
swg_top_1_1_3_2_1.add(gdstk.Reference(swg_top_period_84_1_3_2_, (0,0)))
swg_top_1_1_3_2_1.add(gdstk.Reference(swg_top_period_85_1_3_2_, (0,0)))
swg_top_1_1_3_2_1.add(gdstk.Reference(swg_top_period_86_1_3_2_, (0,0)))
swg_top_1_1_3_2_1.add(gdstk.Reference(swg_top_period_87_1_3_2_, (0,0)))
swg_top_1_1_3_2_1.add(gdstk.Reference(swg_top_period_88_1_3_2_, (0,0)))
swg_top_1_1_3_2_1.add(gdstk.Reference(swg_top_period_89_1_3_2_, (0,0)))
swg_top_1_1_3_2_1.add(gdstk.Reference(swg_top_period_90_1_3_2_, (0,0)))
swg_top_1_1_3_2_1.add(gdstk.Reference(swg_top_period_91_1_3_2_, (0,0)))
swg_top_1_1_3_2_1.add(gdstk.Reference(swg_top_period_92_1_3_2_, (0,0)))
swg_top_1_1_3_2_1.add(gdstk.Reference(swg_top_period_93_1_3_2_, (0,0)))
swg_top_1_1_3_2_1.add(gdstk.Reference(swg_top_period_94_1_3_2_, (0,0)))
swg_top_1_1_3_2_1.add(gdstk.Reference(swg_top_period_95_1_3_2_, (0,0)))
swg_top_1_1_3_2_1.add(gdstk.Reference(right_wg2_1_3_2_1, (0,0)))
swg_top_1_1_3_2_1.add(gdstk.Reference(wg_taper_right2_1_3_2_1, (0,0)))
swg_top_1_1_3_2_1.add(gdstk.Reference(swg_top_period_0_1_1_3_2, (0,0)))
swg_top_1_1_3_2_1.add(gdstk.Reference(swg_top_period_1_1_1_3_2, (0,0)))
swg_top_1_1_3_2_1.add(gdstk.Reference(swg_top_period_2_1_1_3_2, (0,0)))
swg_top_1_1_3_2_1.add(gdstk.Reference(swg_top_period_3_1_1_3_2, (0,0)))
swg_top_1_1_3_2_1.add(gdstk.Reference(swg_top_period_4_1_1_3_2, (0,0)))
swg_top_1_1_3_2_1.add(gdstk.Reference(swg_top_period_5_1_1_3_2, (0,0)))
swg_top_1_1_3_2_1.add(gdstk.Reference(swg_top_period_6_1_1_3_2, (0,0)))
swg_top_1_1_3_2_1.add(gdstk.Reference(swg_top_period_7_1_1_3_2, (0,0)))
swg_top_1_1_3_2_1.add(gdstk.Reference(swg_top_period_8_1_1_3_2, (0,0)))
swg_top_1_1_3_2_1.add(gdstk.Reference(swg_top_period_9_1_1_3_2, (0,0)))
swg_top_1_1_3_2_1.add(gdstk.Reference(swg_top_period_10_1_1_3_, (0,0)))
swg_top_1_1_3_2_1.add(gdstk.Reference(swg_top_period_11_1_1_3_, (0,0)))
swg_top_1_1_3_2_1.add(gdstk.Reference(swg_top_period_12_1_1_3_, (0,0)))
swg_top_1_1_3_2_1.add(gdstk.Reference(swg_top_period_13_1_1_3_, (0,0)))
swg_top_1_1_3_2_1.add(gdstk.Reference(swg_top_period_14_1_1_3_, (0,0)))
swg_top_1_1_3_2_1.add(gdstk.Reference(swg_top_period_15_1_1_3_, (0,0)))
swg_top_1_1_3_2_1.add(gdstk.Reference(swg_top_period_16_1_1_3_, (0,0)))
swg_top_1_1_3_2_1.add(gdstk.Reference(swg_top_period_17_1_1_3_, (0,0)))
swg_top_1_1_3_2_1.add(gdstk.Reference(swg_top_period_18_1_1_3_, (0,0)))
swg_top_1_1_3_2_1.add(gdstk.Reference(swg_top_period_19_1_1_3_, (0,0)))
swg_top_1_1_3_2_1.add(gdstk.Reference(swg_top_period_20_1_1_3_, (0,0)))
swg_top_1_1_3_2_1.add(gdstk.Reference(swg_top_period_21_1_1_3_, (0,0)))
swg_top_1_1_3_2_1.add(gdstk.Reference(swg_top_period_22_1_1_3_, (0,0)))
swg_top_1_1_3_2_1.add(gdstk.Reference(swg_top_period_23_1_1_3_, (0,0)))
swg_top_1_1_3_2_1.add(gdstk.Reference(swg_top_period_24_1_1_3_, (0,0)))
swg_top_1_1_3_2_1.add(gdstk.Reference(swg_top_period_25_1_1_3_, (0,0)))
swg_top_1_1_3_2_1.add(gdstk.Reference(swg_top_period_26_1_1_3_, (0,0)))
swg_top_1_1_3_2_1.add(gdstk.Reference(swg_top_period_27_1_1_3_, (0,0)))
swg_top_1_1_3_2_1.add(gdstk.Reference(swg_top_period_28_1_1_3_, (0,0)))
swg_top_1_1_3_2_1.add(gdstk.Reference(swg_top_period_29_1_1_3_, (0,0)))
swg_top_1_1_3_2_1.add(gdstk.Reference(swg_top_period_30_1_1_3_, (0,0)))
swg_top_1_1_3_2_1.add(gdstk.Reference(swg_top_period_31_1_1_3_, (0,0)))
swg_top_1_1_3_2_1.add(gdstk.Reference(swg_top_period_32_1_1_3_, (0,0)))
swg_top_1_1_3_2_1.add(gdstk.Reference(swg_top_period_33_1_1_3_, (0,0)))
swg_top_1_1_3_2_1.add(gdstk.Reference(swg_top_period_34_1_1_3_, (0,0)))
swg_top_1_1_3_2_1.add(gdstk.Reference(swg_top_period_35_1_1_3_, (0,0)))
swg_top_1_1_3_2_1.add(gdstk.Reference(swg_top_period_36_1_1_3_, (0,0)))
swg_top_1_1_3_2_1.add(gdstk.Reference(swg_top_period_37_1_1_3_, (0,0)))
swg_top_1_1_3_2_1.add(gdstk.Reference(swg_top_period_38_1_1_3_, (0,0)))
swg_top_1_1_3_2_1.add(gdstk.Reference(swg_top_period_39_1_1_3_, (0,0)))
swg_top_1_1_3_2_1.add(gdstk.Reference(swg_top_period_40_1_1_3_, (0,0)))
swg_top_1_1_3_2_1.add(gdstk.Reference(swg_top_period_41_1_1_3_, (0,0)))
swg_top_1_1_3_2_1.add(gdstk.Reference(swg_top_period_42_1_1_3_, (0,0)))
swg_top_1_1_3_2_1.add(gdstk.Reference(swg_top_period_43_1_1_3_, (0,0)))
swg_top_1_1_3_2_1.add(gdstk.Reference(swg_top_period_44_1_1_3_, (0,0)))
swg_top_1_1_3_2_1.add(gdstk.Reference(swg_top_period_45_1_1_3_, (0,0)))
swg_top_1_1_3_2_1.add(gdstk.Reference(swg_top_period_46_1_1_3_, (0,0)))
swg_top_1_1_3_2_1.add(gdstk.Reference(left_wg_1_3_2_1, (0,0)))
swg_top_1_1_3_2_1.add(gdstk.Reference(swg_top_period_47_1_1_3_, (0,0)))
swg_top_1_1_3_2_1.add(gdstk.Reference(wg_taper_left_1_3_2_1, (0,0)))
swg_top_1_1_3_2_1.add(gdstk.Reference(taper_left_1_1_3_2_1, (0,0)))

mid_swg_period_0_1_1_3_2 = lib.new_cell('mid_swg_period_0$1$1$3$2$1')
R(mid_swg_period_0_1_1_3_2, Si, [(4.3,-0.324,14.7,-0.216)])

mid_swg_period_1_1_1_3_2 = lib.new_cell('mid_swg_period_1$1$1$3$2$1')
R(mid_swg_period_1_1_1_3_2, Si, [(4.3,-0.144,14.7,-0.036)])

mid_swg_period_2_1_1_3_2 = lib.new_cell('mid_swg_period_2$1$1$3$2$1')
R(mid_swg_period_2_1_1_3_2, Si, [(4.3,0.036,14.7,0.144)])

mid_swg_period_3_1_1_3_2 = lib.new_cell('mid_swg_period_3$1$1$3$2$1')
R(mid_swg_period_3_1_1_3_2, Si, [(4.3,0.216,14.7,0.324)])

swg_mid_1_1_3_2_1 = lib.new_cell('SWG_mid$1$1$3$2$1')
swg_mid_1_1_3_2_1.add(gdstk.Reference(mid_swg_period_0_1_1_3_2, (0,0)))
swg_mid_1_1_3_2_1.add(gdstk.Reference(mid_swg_period_1_1_1_3_2, (0,0)))
swg_mid_1_1_3_2_1.add(gdstk.Reference(mid_swg_period_2_1_1_3_2, (0,0)))
swg_mid_1_1_3_2_1.add(gdstk.Reference(mid_swg_period_3_1_1_3_2, (0,0)))

ps_splitter_1_1_3_2_1 = lib.new_cell('PS_Splitter$1$1$3$2$1')
R(ps_splitter_1_1_3_2_1, DevRec, [(-7.065,-2.294,26.065,2.294)])
ps_splitter_1_1_3_2_1.add(gdstk.FlexPath([(-7.055,0.844),(-7.075,0.844)], 0.5, ends="flush", simple_path=True, layer=1, datatype=10))  # PinRec
ps_splitter_1_1_3_2_1.add(gdstk.FlexPath([(26.055,0.844),(26.075,0.844)], 0.5, ends="flush", simple_path=True, layer=1, datatype=10))  # PinRec
ps_splitter_1_1_3_2_1.add(gdstk.FlexPath([(26.055,-0.844),(26.075,-0.844)], 0.5, ends="flush", simple_path=True, layer=1, datatype=10))  # PinRec
ps_splitter_1_1_3_2_1.add(gdstk.Reference(swg_bot_1_1_3_2_1, (0,0)))
ps_splitter_1_1_3_2_1.add(gdstk.Reference(swg_top_1_1_3_2_1, (0,0)))
ps_splitter_1_1_3_2_1.add(gdstk.Reference(swg_mid_1_1_3_2_1, (0,0)))
ps_splitter_1_1_3_2_1.add(gdstk.Label('opt1', (-7.065,0.844), layer=1, texttype=10))
ps_splitter_1_1_3_2_1.add(gdstk.Label('opt2', (26.065,0.844), layer=1, texttype=10))
ps_splitter_1_1_3_2_1.add(gdstk.Label('opt3', (26.065,-0.844), layer=1, texttype=10))

lib.write_gds('PS_Splitter_1_1_3_2_1.gds')
